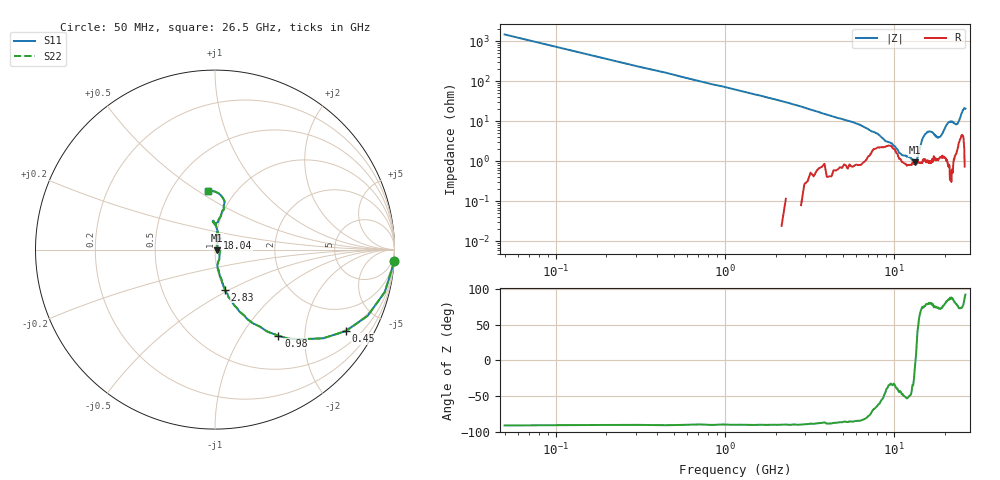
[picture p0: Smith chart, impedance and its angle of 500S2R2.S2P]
!  American Technical Ceramics  Date:  3/6/98
!  One Norden Lane
!  Huntington Station,  NY.  11746-2102
!  Tel:  (516) 547-5700  Fax:  (516) 547-5748
!  Part Number  500S2R2
!  Description: Broadband Microwave capacitor
!  Application:
# GHZ S DB R 50
! Freq  |S11|  S11 Ph  |S21|  S21 Ph  |S12|  S12 Ph  |S22|  S22 Ph
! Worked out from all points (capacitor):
!   201 points, 50 MHz to 26.5 GHz, reference 50 ohm
!   read as one part in series: C = 2.22 pF near 180 MHz
!   lowest |Z| = 940 mohm at 13.28 GHz (marker M1)
!   series resonance near 13.45 GHz, so ESL is about 63 pH
!   S11 on the Smith chart (normalised r, x): 50 MHz: -1, -30; 450 MHz: 0.94, -3.25; 980 MHz: 1.00, -1.48; 2.83 GHz: 1.01, -0.47; 18.04 GHz: 1.02, +0.13; 26.5 GHz: 0.75, +0.55
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0.05  0.01 -3.8  -23.30 87.2  -23.30 87.2  0.01 -3.8
0.18  -0.22 -14.1  -12.23 76.2  -12.23 76.2  -0.22 -14.1
0.45  -1.32 -31.9  -5.52 58.7  -5.52 58.7  -1.32 -31.9
0.98  -4.50 -53.6  -1.84 35.6  -1.84 35.6  -4.50 -53.6
2.83  -12.77 -76.0  -0.21 12.9  -0.21 12.9  -12.77 -76.0
4.55  -17.33 -79.8  -0.10 6.2  -0.10 6.2  -17.33 -79.8
6.79  -21.20 -81.3  -0.13 2.7  -0.13 2.7  -21.20 -81.3
8.91  -30.24 -33.6  -0.17 1.5  -0.17 1.5  -30.24 -33.6
11.16  -39.55 -18.7  -0.08 1.0  -0.08 1.0  -39.55 -18.7
12.61  -35.29 -46.3  -0.04 0.3  -0.04 0.3  -35.29 -46.3
13.28  -37.85 -15.2  -0.05 0.1  -0.05 0.1  -37.85 -15.2
13.67  -36.79 28.0  -0.04 -0.1  -0.04 -0.1  -36.79 28.0
14.73  -24.87 76.7  -0.06 -0.6  -0.06 -0.6  -24.87 76.7
15.39  -21.76 80.5  -0.11 -0.7  -0.11 -0.7  -21.76 80.5
16.58  -20.20 82.9  -0.10 -0.6  -0.10 -0.6  -20.20 82.9
17.77  -22.96 78.1  -0.08 -0.5  -0.08 -0.5  -22.96 78.1
18.04  -23.76 78.4  -0.10 -0.6  -0.10 -0.6  -23.76 78.4
18.83  -24.53 74.8  -0.11 -1.1  -0.11 -1.1  -24.53 74.8
20.81  -17.55 87.5  -0.23 -2.3  -0.23 -2.3  -17.55 87.5
22.14  -15.88 93.0  -0.35 -1.9  -0.35 -1.9  -15.88 93.0
23.86  -16.91 88.0  -0.44 -1.1  -0.44 -1.1  -16.91 88.0
26.5  -9.67 96.7  -0.94 -3.9  -0.94 -3.9  -9.67 96.7
